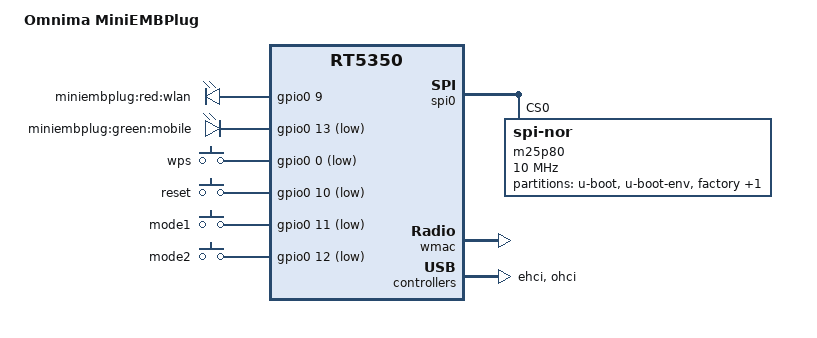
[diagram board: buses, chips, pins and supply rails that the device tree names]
/dts-v1/;

#include "rt5350.dtsi"

#include <dt-bindings/gpio/gpio.h>
#include <dt-bindings/input/input.h>

/ {
	compatible = "omnima,miniembplug", "ralink,rt5350-soc";
	model = "Omnima MiniEMBPlug";

	gpio-leds {
		compatible = "gpio-leds";

		wlan {
			label = "miniembplug:red:wlan";
			gpios = <&gpio0 9 GPIO_ACTIVE_HIGH>;
		};

		mobile {
			label = "miniembplug:green:mobile";
			gpios = <&gpio0 13 GPIO_ACTIVE_LOW>;
			trigger-sources = <&ohci_port1>, <&ehci_port1>;
			linux,default-trigger = "usbport";
		};
	};

	gpio-keys-polled {
		compatible = "gpio-keys-polled";
		poll-interval = <20>;

		wps {
			label = "wps";
			gpios = <&gpio0 0 GPIO_ACTIVE_LOW>;
			linux,code = <KEY_WPS_BUTTON>;
		};

		reset {
			label = "reset";
			gpios = <&gpio0 10 GPIO_ACTIVE_LOW>;
			linux,code = <KEY_WPS_BUTTON>;
		};

		mode-one {
			label = "mode1";
			gpios = <&gpio0 11 GPIO_ACTIVE_LOW>;
			linux,code = <KEY_WPS_BUTTON>;
		};

		mode-two {
			label = "mode2";
			gpios = <&gpio0 12 GPIO_ACTIVE_LOW>;
			linux,code = <KEY_WPS_BUTTON>;
		};
	};
};

&pinctrl {
	state_default: pinctrl0 {
		gpio {
			ralink,group = "i2c", "jtag", "uartf";
			ralink,function = "gpio";
		};
	};
};

&gpio0 {
	status = "okay";
};

&spi0 {
	status = "okay";

	m25p80@0 {
		compatible = "jedec,spi-nor";
		reg = <0>;
		spi-max-frequency = <10000000>;

		partitions {
			compatible = "fixed-partitions";
			#address-cells = <1>;
			#size-cells = <1>;

			partition@0 {
				label = "u-boot";
				reg = <0x0 0x30000>;
				read-only;
			};

			partition@30000 {
				label = "u-boot-env";
				reg = <0x30000 0x10000>;
				read-only;
			};

			factory: partition@40000 {
				label = "factory";
				reg = <0x40000 0x10000>;
				read-only;
			};

			partition@50000 {
				label = "firmware";
				reg = <0x50000 0x7b0000>;
			};
		};
	};
};

&ethernet {
	mtd-mac-address = <&factory 0x4>;
};

&esw {
	mediatek,portmap = <0x2f>;
};

&wmac {
	ralink,mtd-eeprom = <&factory 0>;
};

&ehci {
	status = "okay";
};

&ohci {
	status = "okay";
};
